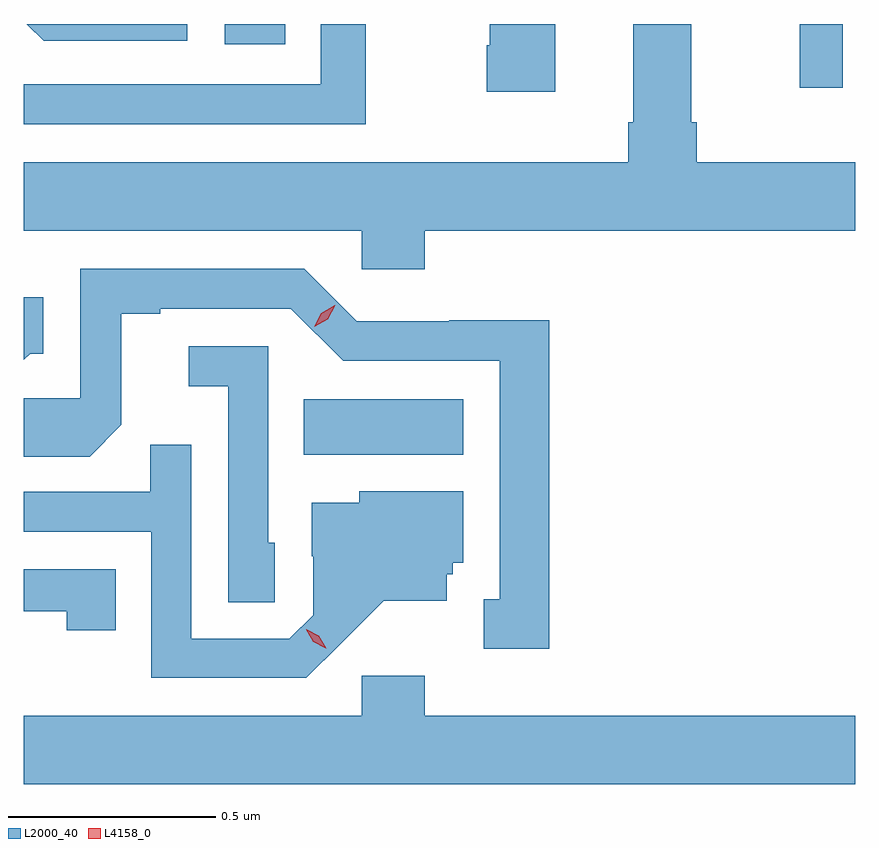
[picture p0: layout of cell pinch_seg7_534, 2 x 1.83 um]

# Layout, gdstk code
import gdstk
lib = gdstk.Library(unit=1e-6, precision=1e-09)
def R(c, l, rs):  # rectangles x0, y0, x1, y1
    for r in rs: c.add(gdstk.rectangle(r[:2], r[2:], *l))
def P(c, l, *ps):  # polygons
    for p in ps: c.add(gdstk.Polygon(p, *l))
L2000_40 = (2000, 40)
L4158_0 = (4158, 0)

pinch_seg7_534 = lib.new_cell('pinch_seg7_534')
R(pinch_seg7_534, L2000_40, [(143.584,1072.004,143.968,1072.138), (144.778,1072.887,144.881,1073.041), (143.394,1072.992,143.54,1073.041)])
P(pinch_seg7_534, L2000_40, [(143.876,1072.544),(144.911,1072.544),(144.911,1072.708),(144.53,1072.708),(144.53,1072.804),(144.517,1072.804),(144.517,1073.041),(144.377,1073.041),(144.377,1072.804),(144.365,1072.804),(144.365,1072.708),(142.911,1072.708),(142.911,1072.544),(143.724,1072.544),(143.724,1072.451),(143.876,1072.451)],
  [(143.734,1073.041),(143.625,1073.041),(143.625,1072.896),(142.911,1072.896),(142.911,1072.8),(143.734,1072.8)],
  [(143.304,1073.041),(142.918,1073.041),(142.958,1073.001),(143.304,1073.001)],
  [(144.19,1073.041),(144.032,1073.041),(144.032,1072.99),(144.025,1072.99),(144.025,1072.878),(144.19,1072.878)],
  [(144.175,1072.328),(143.934,1072.328),(143.934,1072.326),(143.712,1072.326),(143.586,1072.452),(143.046,1072.452),(143.046,1072.14),(142.911,1072.14),(142.911,1072),(143.069,1072),(143.145,1072.076),(143.145,1072.344),(143.239,1072.344),(143.239,1072.356),(143.553,1072.356),(143.679,1072.23),(144.056,1072.23),(144.056,1071.657),(144.017,1071.657),(144.017,1071.537),(144.175,1071.537)],
  [(142.926,1072.248),(142.957,1072.248),(142.957,1072.384),(142.911,1072.384),(142.911,1072.233)],
  [(143.514,1071.792),(143.499,1071.792),(143.499,1072.266),(143.307,1072.266),(143.307,1072.169),(143.403,1072.169),(143.403,1071.649),(143.514,1071.649)],
  [(143.674,1071.551),(143.777,1071.653),(143.929,1071.653),(143.929,1071.717),(143.943,1071.717),(143.943,1071.744),(143.968,1071.744),(143.968,1071.916),(143.718,1071.916),(143.718,1071.889),(143.603,1071.889),(143.603,1071.76),(143.607,1071.76),(143.607,1071.618),(143.55,1071.561),(143.313,1071.561),(143.313,1072.028),(143.215,1072.028),(143.215,1071.915),(142.911,1071.915),(142.911,1071.819),(143.217,1071.819),(143.217,1071.468),(143.59,1071.468)],
  [(143.132,1071.729),(142.911,1071.729),(142.911,1071.628),(143.014,1071.628),(143.014,1071.582),(143.132,1071.582)],
  [(144.911,1071.376),(143.876,1071.376),(143.876,1071.472),(143.724,1071.472),(143.724,1071.376),(142.911,1071.376),(142.911,1071.212),(144.911,1071.212)])
P(pinch_seg7_534, L4158_0, [(143.637,1071.539),(143.607,1071.554),(143.59,1071.583),(143.59,1071.584),(143.59,1071.584),(143.62,1071.569),(143.638,1071.539),(143.638,1071.539)],
  [(143.61,1072.313),(143.61,1072.313),(143.627,1072.345),(143.659,1072.364),(143.66,1072.364),(143.66,1072.364),(143.642,1072.331),(143.61,1072.313)])

lib.write_gds('pinch_seg7_534.gds')
